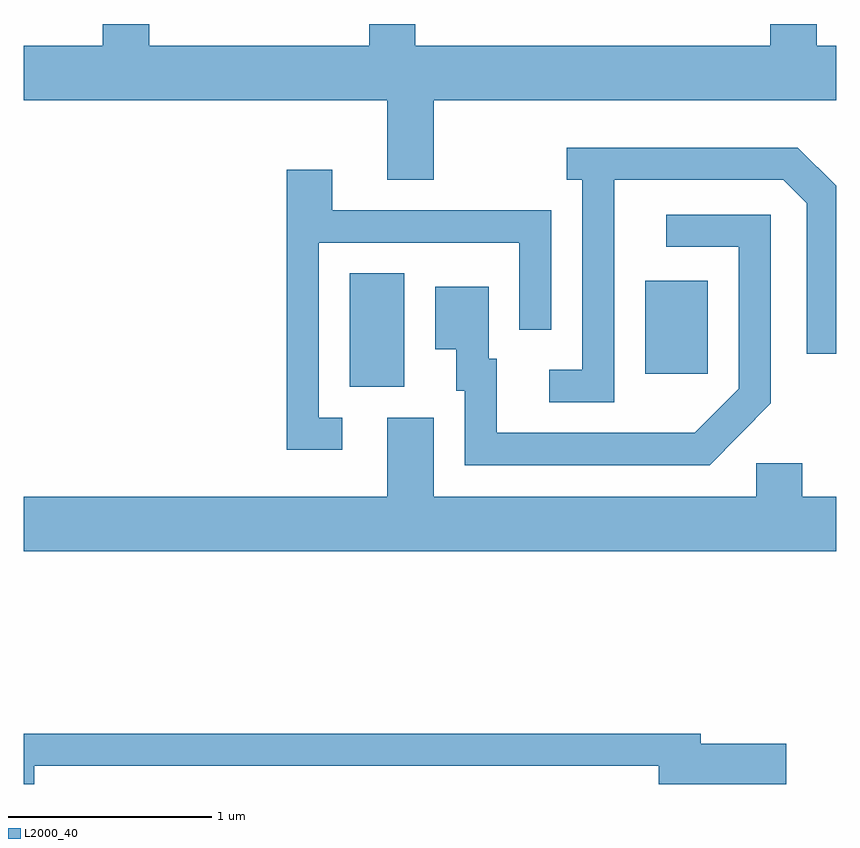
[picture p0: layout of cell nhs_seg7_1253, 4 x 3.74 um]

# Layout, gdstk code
import gdstk
lib = gdstk.Library(unit=1e-6, precision=1e-09)
def R(c, l, rs):  # rectangles x0, y0, x1, y1
    for r in rs: c.add(gdstk.rectangle(r[:2], r[2:], *l))
def P(c, l, *ps):  # polygons
    for p in ps: c.add(gdstk.Polygon(p, *l))
L2000_40 = (2000, 40)

nhs_seg7_1253 = lib.new_cell('nhs_seg7_1253')
R(nhs_seg7_1253, L2000_40, [(225.216,1708.466,225.484,1709.024), (226.671,1708.531,226.979,1708.989)])
P(nhs_seg7_1253, L2000_40, [(225.629,1709.876),(227.611,1709.876),(227.611,1710.144),(227.514,1710.144),(227.514,1710.252),(227.286,1710.252),(227.286,1710.144),(225.539,1710.144),(225.539,1710.252),(225.311,1710.252),(225.311,1710.144),(224.229,1710.144),(224.229,1710.252),(224.001,1710.252),(224.001,1710.144),(223.611,1710.144),(223.611,1709.876),(225.401,1709.876),(225.401,1709.486),(225.629,1709.486)],
  [(226.519,1709.486),(227.349,1709.486),(227.466,1709.369),(227.466,1708.628),(227.611,1708.628),(227.611,1709.455),(227.422,1709.644),(226.283,1709.644),(226.283,1709.486),(226.361,1709.486),(226.361,1708.549),(226.198,1708.549),(226.198,1708.391),(226.519,1708.391)],
  [(225.178,1708.314),(225.064,1708.314),(225.064,1709.176),(226.051,1709.176),(226.051,1708.748),(226.209,1708.748),(226.209,1709.334),(225.129,1709.334),(225.129,1709.534),(224.906,1709.534),(224.906,1708.156),(225.178,1708.156)],
  [(227.289,1708.384),(227.289,1709.314),(226.773,1709.314),(226.773,1709.156),(227.131,1709.156),(227.131,1708.457),(226.914,1708.239),(225.939,1708.239),(225.939,1708.604),(225.899,1708.604),(225.899,1708.959),(225.636,1708.959),(225.636,1708.651),(225.741,1708.651),(225.741,1708.446),(225.781,1708.446),(225.781,1708.081),(226.987,1708.081)],
  [(227.611,1707.924),(227.444,1707.924),(227.444,1708.089),(227.216,1708.089),(227.216,1707.924),(225.629,1707.924),(225.629,1708.314),(225.401,1708.314),(225.401,1707.924),(223.611,1707.924),(223.611,1707.656),(227.611,1707.656)],
  [(223.664,1706.601),(226.736,1706.601),(226.736,1706.511),(227.364,1706.511),(227.364,1706.709),(226.944,1706.709),(226.944,1706.759),(223.611,1706.759),(223.611,1706.511),(223.664,1706.511)])

lib.write_gds('nhs_seg7_1253.gds')
